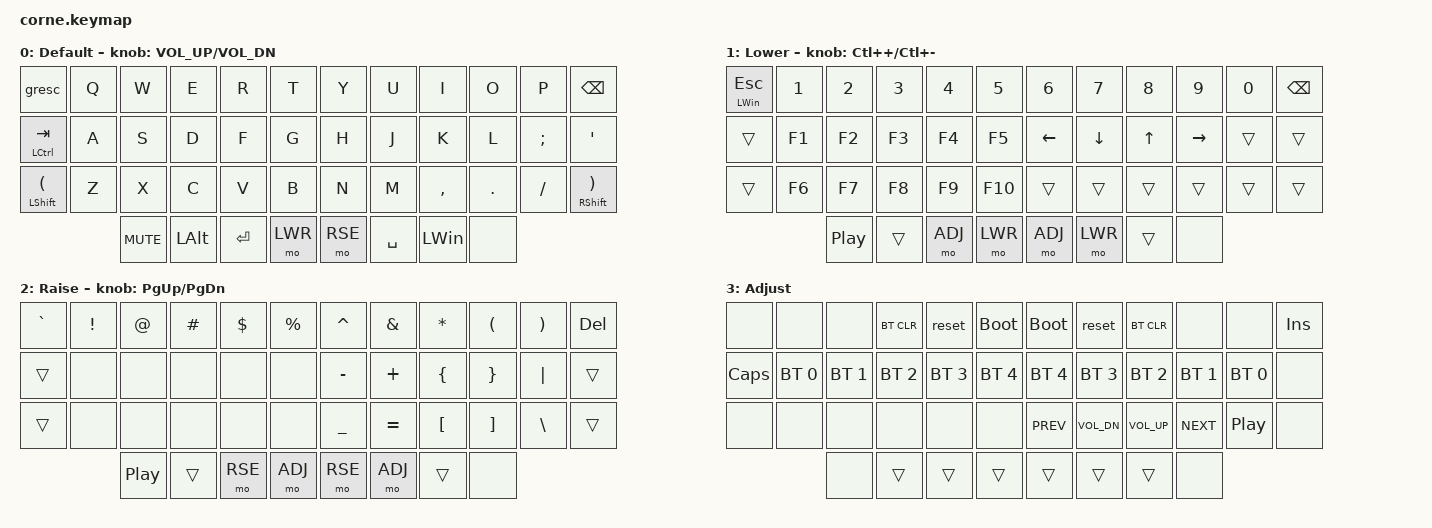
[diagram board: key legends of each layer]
/*
 * Copyright (c) 2020 The ZMK Contributors
 *
 * SPDX-License-Identifier: MIT
 */

#include <behaviors.dtsi>
#include <dt-bindings/zmk/keys.h>
#include <dt-bindings/zmk/bt.h>

#define DEF 0
#define LWR 1
#define RSE 2
#define ADJ 3

/ {
        keymap {
                compatible = "zmk,keymap";

                default_layer {
// -----------------------------------------------------------------------------------------
// | GUI/~    |   Q  |    W  |  E  |  R  |  T  |     |  Y  |  U   |  I  |  O  |  P  | BKSP   |
// | CTRL/TAB |   A  |    S  |  D  |  F  |  G  |     |  H  |  J   |  K  |  L  |  ;  |  '     |
// | SHFT     |   Z  |    X  |  C  |  V  |  B  |     |  N  |  M   |  ,  |  .  |  /  | SHFT   |
//                           | ALT | ENT | LWR |     | RSE | ENT  | GUI |
                        bindings = <
   &gresc           &kp Q    &kp W      &kp E    &kp R    &kp T       &kp Y    &kp U     &kp I     &kp O    &kp P     &kp BSPC
   &mt LCTRL TAB    &kp A    &kp S      &kp D    &kp F    &kp G       &kp H    &kp J     &kp K     &kp L    &kp SEMI  &kp SQT
   &mt LSHFT LPAR   &kp Z    &kp X      &kp C    &kp V    &kp B       &kp N    &kp M     &kp COMMA &kp DOT  &kp FSLH  &mt RSHFT RPAR
                             &kp C_MUTE &kp LALT &kp RET  &mo LWR     &mo RSE  &kp SPACE &kp LWIN  &none
                        >;
                        sensor-bindings = <&inc_dec_kp C_VOL_UP C_VOL_DN>;
                        label = "Default";
                };
                lower_layer {
// -----------------------------------------------------------------------------------------
// |  ESC |  1  |  2  |  3  |  4  |  5  |        |  6  |  7  |  8  |  9  |  0  | BKSP |
// |      | F1  | F2  | F3  | F4  | F5  |        | LFT | DWN |  UP | RGT |     |      |
// |      | F6  | F7  | F8  | F9  | F10 |        |     |     |     |     |     |      |
//                    |     | ADJ |     |        | ADJ |     |     |
                        bindings = <
   &mt LWIN ESC &kp N1      &kp N2     &kp N3      &kp N4      &kp N5            &kp N6   &kp N7   &kp N8 &kp N9    &kp N0 &kp BSPC
   &trans       &kp F1      &kp F2     &kp F3      &kp F4      &kp F5            &kp LEFT &kp DOWN &kp UP &kp RIGHT &trans &trans
   &trans       &kp F6      &kp F7     &kp F8      &kp F9      &kp F10           &trans   &trans   &trans &trans    &trans &trans
                            &kp C_PP   &trans      &mo ADJ     &mo LWR           &mo ADJ  &mo LWR  &trans &none
                        >;
                        sensor-bindings = <&inc_dec_cp LC(PLUS) LC(MINUS)>;
                        label = "Lower";
                };

                raise_layer {
// -----------------------------------------------------------------------------------------
// | GRAVE|  !  |  @  |  #  |  $  |  %  |        |  ^  |  &  |  *  |  (  |  )  | DEL  |
// | CTRL |     |     |     |     |     |        |  -  |  +  |  {  |  }  | "|" |      |
// | SHFT |     |     |     |     |     |        |  _  |  =  |  [  |  ]  |  \  |      |
//                    |     |     | ADJ |        |     | ADJ |     |
                        bindings = <
   &kp  GRAVE   &kp EXCL    &kp AT     &kp HASH    &kp DLLR    &kp PRCNT         &kp CARET   &kp AMPS    &kp ASTRK  &kp LPAR &kp RPAR &kp DEL
   &trans       &none       &none      &none       &none       &none             &kp MINUS   &kp PLUS    &kp LBRC   &kp RBRC &kp PIPE &trans
   &trans       &none       &none      &none       &none       &none             &kp UNDER   &kp EQUAL   &kp LBKT   &kp RBKT &kp BSLH &trans
                            &kp C_PP   &trans      &mo RSE     &mo ADJ           &mo RSE     &mo ADJ     &trans     &none
                        >;
                        sensor-bindings = <&inc_dec_kp PG_UP PG_DN>;
                        label = "Raise";
                };
                adjust_layer {
// -----------------------------------------------------------------------------------------
// | RST  | BLDR |     |     |     |     |        |     |     |     |     | BLDR | RST  |
// | BTCLR| BT0  | BT1 | BT2 | BT3 | BT4 |        | BT4 | BT3 | BT2 | BT1 | BT0  | BTCLR|
// |      |      |     |     |     |     |        |     |     |     |     |      |      |
//                     |     |     |     |        |     |     |     |
                        bindings = <
   &none        &none        &none        &bt BT_CLR   &reset       &bootloader        &bootloader  &reset       &bt BT_CLR   &none        &none         &kp INS
   &kp CAPS     &bt BT_SEL 0 &bt BT_SEL 1 &bt BT_SEL 2 &bt BT_SEL 3 &bt BT_SEL 4       &bt BT_SEL 4 &bt BT_SEL 3 &bt BT_SEL 2 &bt BT_SEL 1 &bt BT_SEL 0  &none
   &none        &none        &none        &none        &none        &none              &kp C_PREV   &kp C_VOL_DN &kp C_VOL_UP &kp C_NEXT   &kp C_PP      &none
                             &none        &trans       &trans       &trans             &trans       &trans       &trans       &none
                        >;
                        label = "Adjust";
                };
        };
};
